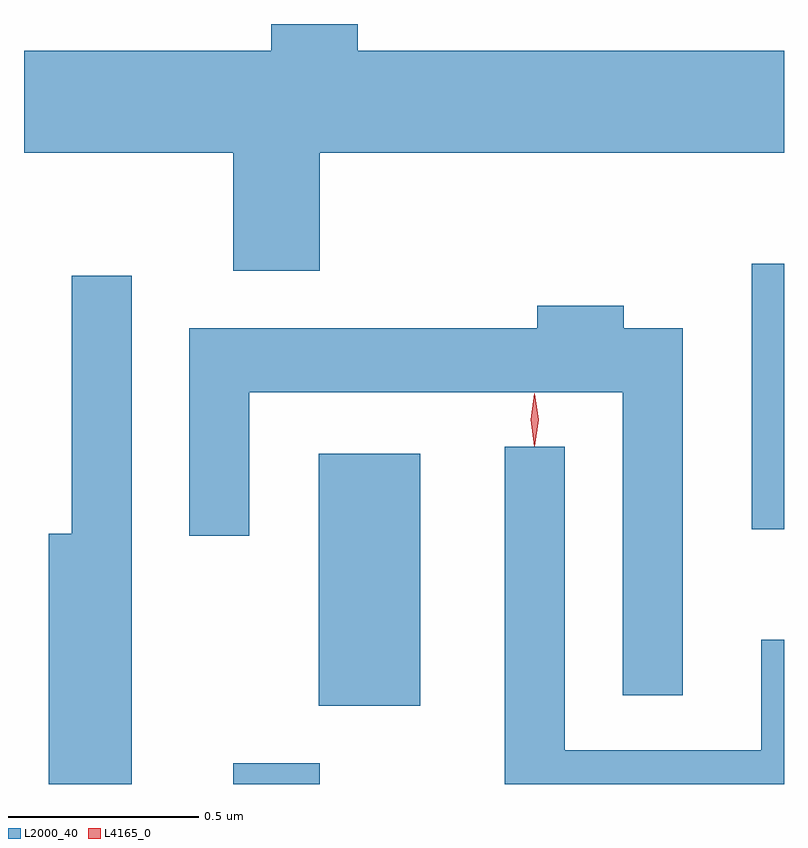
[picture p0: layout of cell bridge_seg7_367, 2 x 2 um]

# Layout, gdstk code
import gdstk
lib = gdstk.Library(unit=1e-6, precision=1e-09)
def R(c, l, rs):  # rectangles x0, y0, x1, y1
    for r in rs: c.add(gdstk.rectangle(r[:2], r[2:], *l))
def P(c, l, *ps):  # polygons
    for p in ps: c.add(gdstk.Polygon(p, *l))
L2000_40 = (2000, 40)
L4165_0 = (4165, 0)

bridge_seg7_367 = lib.new_cell('bridge_seg7_367')
R(bridge_seg7_367, L2000_40, [(1204.421,1759.275,1204.649,1759.329), (1204.646,1759.481,1204.914,1760.144), (1205.786,1759.946,1205.871,1760.644)])
P(bridge_seg7_367, L2000_40, [(1204.649,1760.936),(1205.871,1760.936),(1205.871,1761.204),(1204.749,1761.204),(1204.749,1761.275),(1204.521,1761.275),(1204.521,1761.204),(1203.871,1761.204),(1203.871,1760.936),(1204.421,1760.936),(1204.421,1760.626),(1204.649,1760.626)],
  [(1204.154,1760.613),(1203.996,1760.613),(1203.996,1759.934),(1203.936,1759.934),(1203.936,1759.275),(1204.154,1759.275)],
  [(1205.604,1760.474),(1205.449,1760.474),(1205.449,1760.534),(1205.221,1760.534),(1205.221,1760.474),(1204.306,1760.474),(1204.306,1759.928),(1204.464,1759.928),(1204.464,1760.306),(1205.446,1760.306),(1205.446,1759.508),(1205.604,1759.508)],
  [(1205.871,1759.654),(1205.811,1759.654),(1205.811,1759.364),(1205.294,1759.364),(1205.294,1760.163),(1205.136,1760.163),(1205.136,1759.275),(1205.871,1759.275)])
P(bridge_seg7_367, L4165_0, [(1205.214,1760.164),(1205.205,1760.233),(1205.214,1760.302),(1205.215,1760.303),(1205.215,1760.302),(1205.225,1760.233),(1205.215,1760.164),(1205.215,1760.164)],
  [(1205.214,1760.167),(1205.205,1760.234),(1205.214,1760.3),(1205.215,1760.3),(1205.215,1760.3),(1205.225,1760.234),(1205.215,1760.167),(1205.215,1760.167)])

lib.write_gds('bridge_seg7_367.gds')
